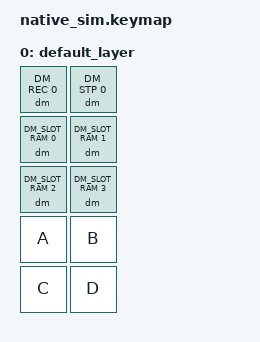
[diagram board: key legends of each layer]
#include <dt-bindings/zmk/keys.h>
#include <behaviors.dtsi>
#include <dt-bindings/zmk/kscan_mock.h>
#include <behaviors/dynamic_macro.dtsi>
#include <dt-bindings/zmk/dynamic_macros.h>

/* Shared-arena pool-full test.
 *
 * Pool sizing: AVG_EVENTS_PER_SLOT=2 x RAM_SLOTS=4 => ARENA_EVENTS = 8 events
 * (== MAX_EVENTS, so a single macro may still fill the whole pool and the
 * MAX_EVENTS <= ARENA_EVENTS build guard holds).
 *
 * Key layout (5 rows x 2 cols):
 *   (0,0)=REC        (0,1)=STP
 *   (1,0)=SLOT_RAM0  (1,1)=SLOT_RAM1
 *   (2,0)=SLOT_RAM2  (2,1)=SLOT_RAM3
 *   (3,0)=A          (3,1)=B
 *   (4,0)=C          (4,1)=D
 *
 * Flow:
 *   1. Record A once  (2 events), assign slot 0 -> stored, pool 2/8.
 *   2. Record B twice (4 events), assign slot 1 -> stored, pool 6/8.
 *   3. Record C once  (2 events), assign slot 2 -> stored, pool 8/8 (FULL).
 *   4. Record D once  (2 events), assign slot 3 -> REJECTED (pool full); the
 *      live D keypress still passes through, but nothing is stored and the
 *      machine stays in PENDING_ASSIGN.
 *   5. Wait past ASSIGN_TIMEOUT (500ms) -> pending assign auto-cancels to IDLE.
 *   6. Play slot 3 -> empty, no output (proves the fourth macro was NOT stored).
 *   7. Play slot 0 -> A; play slot 1 -> B B; play slot 2 -> C (the three stored
 *      macros survived the full pool intact).
 *
 * With FEEDBACK_OFF the only emitted keycodes are the live record passthrough
 * plus playback, so the snapshot reads:
 *   A          (live record, slot 0)
 *   B B        (live record, slot 1)
 *   C          (live record, slot 2)
 *   D          (live record, slot 3 — rejected assign, passthrough only)
 *   A          (play slot 0)
 *   B B        (play slot 1)
 *   C          (play slot 2)
 */

&kscan {
    rows = <5>;
    columns = <2>;
    exit-after;
    events = <
        /* ===== 1. record A, assign slot 0 ===== */
        ZMK_MOCK_PRESS(0,0,10)    /* REC */
        ZMK_MOCK_RELEASE(0,0,10)
        ZMK_MOCK_PRESS(3,0,10)    /* A */
        ZMK_MOCK_RELEASE(3,0,10)
        ZMK_MOCK_PRESS(0,1,10)    /* STP */
        ZMK_MOCK_RELEASE(0,1,10)
        ZMK_MOCK_PRESS(1,0,10)    /* SLOT_RAM 0 */
        ZMK_MOCK_RELEASE(1,0,10)

        /* ===== 2. record B twice, assign slot 1 ===== */
        ZMK_MOCK_PRESS(0,0,10)    /* REC */
        ZMK_MOCK_RELEASE(0,0,10)
        ZMK_MOCK_PRESS(3,1,10)    /* B */
        ZMK_MOCK_RELEASE(3,1,10)
        ZMK_MOCK_PRESS(3,1,10)    /* B */
        ZMK_MOCK_RELEASE(3,1,10)
        ZMK_MOCK_PRESS(0,1,10)    /* STP */
        ZMK_MOCK_RELEASE(0,1,10)
        ZMK_MOCK_PRESS(1,1,10)    /* SLOT_RAM 1 */
        ZMK_MOCK_RELEASE(1,1,10)

        /* ===== 3. record C, assign slot 2 (pool now full) ===== */
        ZMK_MOCK_PRESS(0,0,10)    /* REC */
        ZMK_MOCK_RELEASE(0,0,10)
        ZMK_MOCK_PRESS(4,0,10)    /* C */
        ZMK_MOCK_RELEASE(4,0,10)
        ZMK_MOCK_PRESS(0,1,10)    /* STP */
        ZMK_MOCK_RELEASE(0,1,10)
        ZMK_MOCK_PRESS(2,0,10)    /* SLOT_RAM 2 */
        ZMK_MOCK_RELEASE(2,0,10)

        /* ===== 4. record D, attempt assign slot 3 -> rejected (pool full) ===== */
        ZMK_MOCK_PRESS(0,0,10)    /* REC */
        ZMK_MOCK_RELEASE(0,0,10)
        ZMK_MOCK_PRESS(4,1,10)    /* D */
        ZMK_MOCK_RELEASE(4,1,10)
        ZMK_MOCK_PRESS(0,1,10)    /* STP */
        ZMK_MOCK_RELEASE(0,1,10)
        ZMK_MOCK_PRESS(2,1,10)    /* SLOT_RAM 3 -> REJECTED_FULL, stays PENDING_ASSIGN */
        ZMK_MOCK_RELEASE(2,1,1000) /* 5. wait > ASSIGN_TIMEOUT (500ms): auto-cancel to IDLE */

        /* ===== 6. play slot 3: empty, no output ===== */
        ZMK_MOCK_PRESS(2,1,200)
        ZMK_MOCK_RELEASE(2,1,10)

        /* ===== 7. play slot 0: A, slot 1: B B, slot 2: C ===== */
        ZMK_MOCK_PRESS(1,0,2000)
        ZMK_MOCK_RELEASE(1,0,10)
        ZMK_MOCK_PRESS(1,1,2000)
        ZMK_MOCK_RELEASE(1,1,10)
        ZMK_MOCK_PRESS(2,0,2000)
        ZMK_MOCK_RELEASE(2,0,10)
    >;
};

/ {
    keymap {
        compatible = "zmk,keymap";
        default_layer {
            bindings = <
                &dm DM_REC 0      &dm DM_STP 0
                &dm DM_SLOT_RAM 0 &dm DM_SLOT_RAM 1
                &dm DM_SLOT_RAM 2 &dm DM_SLOT_RAM 3
                &kp A             &kp B
                &kp C             &kp D
            >;
        };
    };
};
